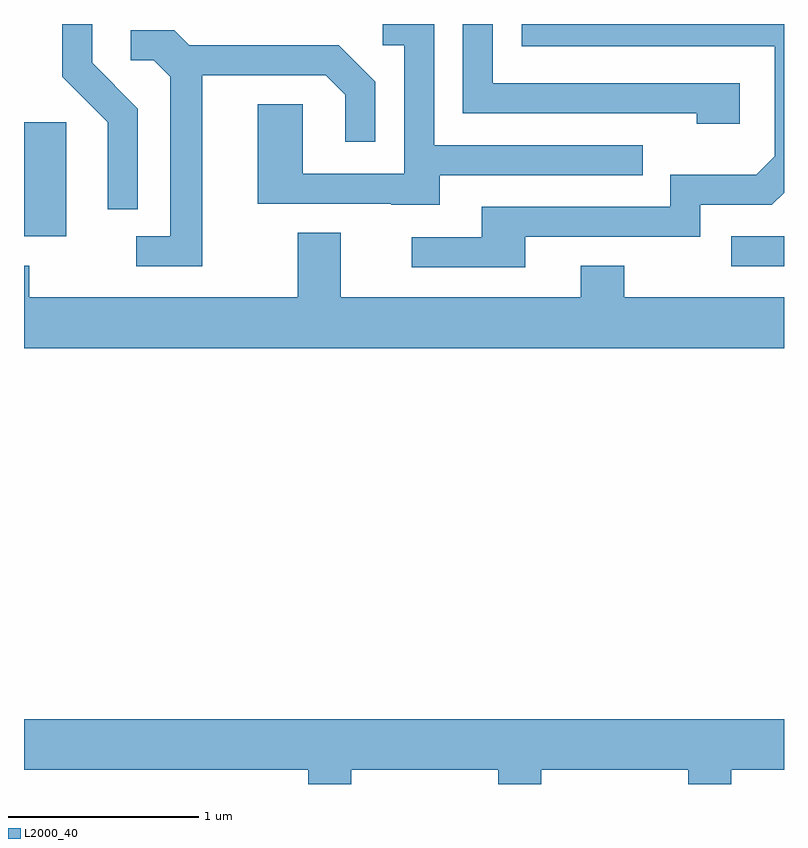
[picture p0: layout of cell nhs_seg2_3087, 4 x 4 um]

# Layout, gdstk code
import gdstk
lib = gdstk.Library(unit=1e-6, precision=1e-09)
def R(c, l, rs):  # rectangles x0, y0, x1, y1
    for r in rs: c.add(gdstk.rectangle(r[:2], r[2:], *l))
def P(c, l, *ps):  # polygons
    for p in ps: c.add(gdstk.Polygon(p, *l))
L2000_40 = (2000, 40)

nhs_seg2_3087 = lib.new_cell('nhs_seg2_3087')
R(nhs_seg2_3087, L2000_40, [(279.333,1046.526,279.611,1046.684), (275.611,1046.686,275.834,1047.284)])
P(nhs_seg2_3087, L2000_40, [(278.249,1046.681),(279.169,1046.681),(279.169,1046.851),(279.547,1046.851),(279.611,1046.915),(279.611,1047.802),(278.231,1047.802),(278.231,1047.686),(279.561,1047.686),(279.561,1047.107),(279.464,1047.009),(279.011,1047.009),(279.011,1046.839),(278.021,1046.839),(278.021,1046.679),(277.653,1046.679),(277.653,1046.521),(278.249,1046.521)],
  [(276.209,1047.357),(275.969,1047.597),(275.969,1047.802),(275.811,1047.802),(275.811,1047.524),(276.051,1047.284),(276.051,1046.828),(276.209,1046.828)],
  [(279.379,1047.489),(278.079,1047.489),(278.079,1047.802),(277.921,1047.802),(277.921,1047.331),(279.151,1047.331),(279.151,1047.276),(279.379,1047.276)],
  [(277.799,1047.006),(278.868,1047.006),(278.868,1047.164),(277.769,1047.164),(277.769,1047.802),(277.498,1047.802),(277.498,1047.691),(277.611,1047.691),(277.611,1047.014),(277.079,1047.014),(277.079,1047.379),(276.841,1047.379),(276.841,1046.856),(277.545,1046.856),(277.545,1046.851),(277.799,1046.851)],
  [(276.549,1047.531),(277.199,1047.531),(277.301,1047.429),(277.301,1047.183),(277.459,1047.183),(277.459,1047.497),(277.267,1047.689),(276.482,1047.689),(276.402,1047.769),(276.173,1047.769),(276.173,1047.611),(276.294,1047.611),(276.381,1047.524),(276.381,1046.684),(276.203,1046.684),(276.203,1046.526),(276.549,1046.526)],
  [(279.611,1046.364),(278.769,1046.364),(278.769,1046.529),(278.541,1046.529),(278.541,1046.364),(277.279,1046.364),(277.279,1046.704),(277.051,1046.704),(277.051,1046.364),(275.639,1046.364),(275.639,1046.529),(275.611,1046.529),(275.611,1046.096),(279.611,1046.096)],
  [(277.334,1043.876),(278.106,1043.876),(278.106,1043.802),(278.334,1043.802),(278.334,1043.876),(279.106,1043.876),(279.106,1043.802),(279.334,1043.802),(279.334,1043.876),(279.611,1043.876),(279.611,1044.144),(275.611,1044.144),(275.611,1043.876),(277.106,1043.876),(277.106,1043.802),(277.334,1043.802)])

lib.write_gds('nhs_seg2_3087.gds')
